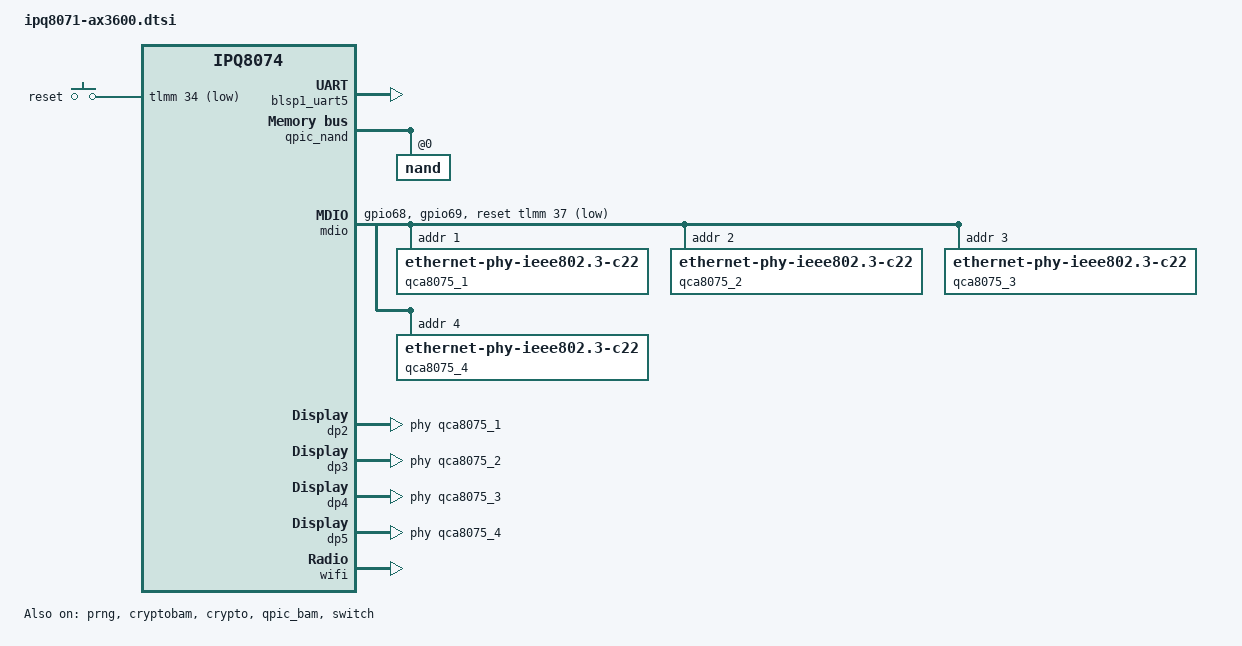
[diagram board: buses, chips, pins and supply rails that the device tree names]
// SPDX-License-Identifier: GPL-2.0-or-later OR MIT
/* Copyright (c) 2021, Robert Marko <robimarko@gmail.com> */

#include "ipq8074-512m.dtsi"
#include "ipq8074-ac-cpu.dtsi"
#include "ipq8074-ess.dtsi"
#include "ipq8074-nss.dtsi"
#include <dt-bindings/gpio/gpio.h>
#include <dt-bindings/input/input.h>

/ {
	aliases {
		serial0 = &blsp1_uart5;
		led-boot = &led_system_yellow;
		led-failsafe = &led_system_yellow;
		led-running = &led_system_blue;
		led-upgrade = &led_system_yellow;
		label-mac-device = &dp2;

		ethernet1 = &dp2;
		ethernet2 = &dp3;
		ethernet3 = &dp4;
		ethernet4 = &dp5;
	};

	chosen {
		stdout-path = "serial0:115200n8";
		bootargs-append = " root=/dev/ubiblock0_1";
	};

	keys {
		compatible = "gpio-keys";

		reset {
			label = "reset";
			gpios = <&tlmm 34 GPIO_ACTIVE_LOW>;
			linux,code = <KEY_RESTART>;
		};
	};
};

&tlmm {
	mdio_pins: mdio-pins {
		mdc {
			pins = "gpio68";
			function = "mdc";
			drive-strength = <8>;
			bias-pull-up;
		};

		mdio {
			pins = "gpio69";
			function = "mdio";
			drive-strength = <8>;
			bias-pull-up;
		};
	};
};

&blsp1_uart5 {
	status = "okay";
};

&prng {
	status = "okay";
};

&cryptobam {
	status = "okay";
};

&crypto {
	status = "okay";
};

&qpic_bam {
	status = "okay";
};

&qpic_nand {
	status = "okay";

	nand@0 {
		reg = <0>;
		nand-ecc-strength = <4>;
		nand-ecc-step-size = <512>;
		nand-bus-width = <8>;

		partitions {
			compatible = "qcom,smem-part";
		};
	};
};

&mdio {
	status = "okay";

	pinctrl-0 = <&mdio_pins>;
	pinctrl-names = "default";
	reset-gpios = <&tlmm 37 GPIO_ACTIVE_LOW>;

	qca8075_1: ethernet-phy@1 {
		compatible = "ethernet-phy-ieee802.3-c22";
		reg = <1>;
	};

	qca8075_2: ethernet-phy@2 {
		compatible = "ethernet-phy-ieee802.3-c22";
		reg = <2>;
	};

	qca8075_3: ethernet-phy@3 {
		compatible = "ethernet-phy-ieee802.3-c22";
		reg = <3>;
	};

	qca8075_4: ethernet-phy@4 {
		compatible = "ethernet-phy-ieee802.3-c22";
		reg = <4>;
	};
};

&switch {
	status = "okay";

	switch_cpu_bmp = <0x1>;  /* cpu port bitmap */
	switch_lan_bmp = <0x1e>; /* lan port bitmap */
	switch_wan_bmp = <0x20>; /* wan port bitmap */
	switch_mac_mode = <0x0>; /* mac mode for uniphy instance0*/
	switch_mac_mode1 = <0xff>; /* mac mode for uniphy instance1*/
	switch_mac_mode2 = <0xff>; /* mac mode for uniphy instance2*/
	bm_tick_mode = <0>; /* bm tick mode */
	tm_tick_mode = <0>; /* tm tick mode */

	qcom,port_phyinfo {
		port@0 {
			port_id = <1>;
			phy_address = <0>;
		};
		port@1 {
			port_id = <2>;
			phy_address = <1>;
		};
		port@2 {
			port_id = <3>;
			phy_address = <2>;
		};
		port@3 {
			port_id = <4>;
			phy_address = <3>;
		};
		port@4 {
			port_id = <5>;
			phy_address = <4>;
		};
	};
};

&edma {
	status = "okay";
};

&dp2 {
	status = "okay";
	phy-handle = <&qca8075_1>;
	label = "wan";
};

&dp3 {
	status = "okay";
	phy-handle = <&qca8075_2>;
	label = "lan1";
};

&dp4 {
	status = "okay";
	phy-handle = <&qca8075_3>;
	label = "lan2";
};

&dp5 {
	status = "okay";
	phy-handle = <&qca8075_4>;
	label = "lan3";
};

&wifi {
	status = "okay";

	qcom,ath11k-fw-memory-mode = <1>;
};
